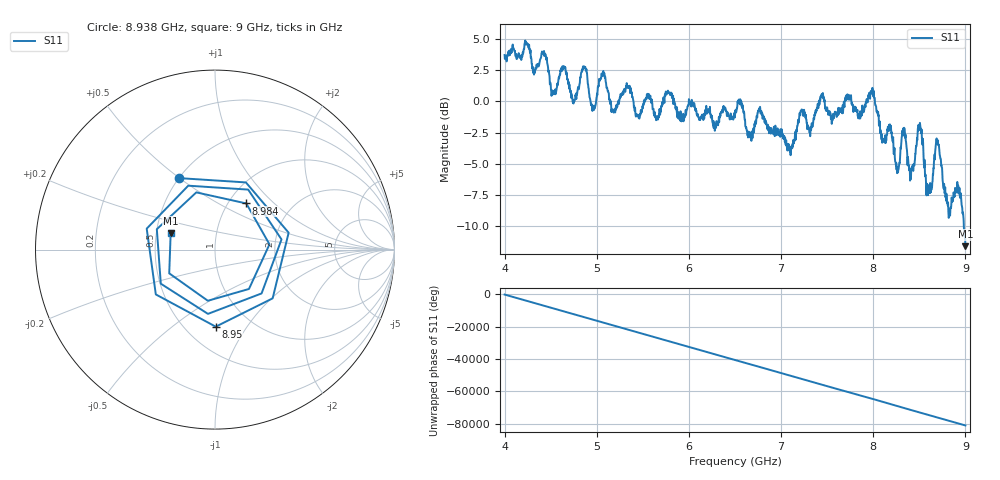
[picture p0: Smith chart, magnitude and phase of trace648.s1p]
! Created with skrf 1.8.0 (http://scikit-rf.org).
# Hz S RI R 50.0
!freq ReS11 ImS11
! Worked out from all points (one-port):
!   1601 points, 4 GHz to 9 GHz, reference 50 ohm
!   lowest |S11| = -11.6 dB at 9 GHz (marker M1), VSWR 1.72, Z = 29.8 + j5.93 ohm
!   |S11| at or under -10 dB: 8.983304 GHz to end of sweep
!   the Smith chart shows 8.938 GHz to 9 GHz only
!   S11 on the Smith chart (normalised r, x): 8.938 GHz: 0.50, +0.50; 8.95 GHz: 0.69, -0.73; 8.984 GHz: 1.21, +0.69; 9 GHz: 0.60, +0.12
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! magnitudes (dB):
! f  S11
! 4 GHz  3.7
! 4.425 GHz  4.0
! 4.531 GHz  0.7
! 4.625 GHz  2.5
! 4.747 GHz  -0.2
! 4.862 GHz  2.7
! 4.959 GHz  -0.4
! 5.066 GHz  2.0
! 5.181 GHz  -0.8
! 5.25 GHz  0.3
! 5.875 GHz  -1.3
! 6.5 GHz  -1.1
! 7.125 GHz  -3.4
! 7.225 GHz  -0.6
! 7.75 GHz  0.2
! 7.994 GHz  0.8
! 8.259 GHz  -5.7
! 8.328 GHz  -2.7
! 8.375 GHz  -4.4
! 8.425 GHz  -5.1
! 8.506 GHz  -1.7
! 8.6 GHz  -7.3
! 8.697 GHz  -3.4
! 8.809 GHz  -8.3
! 8.938 GHz  -7.0
! 8.95 GHz  -7.3
! 8.984 GHz  -10.2
! 9 GHz  -11.6
